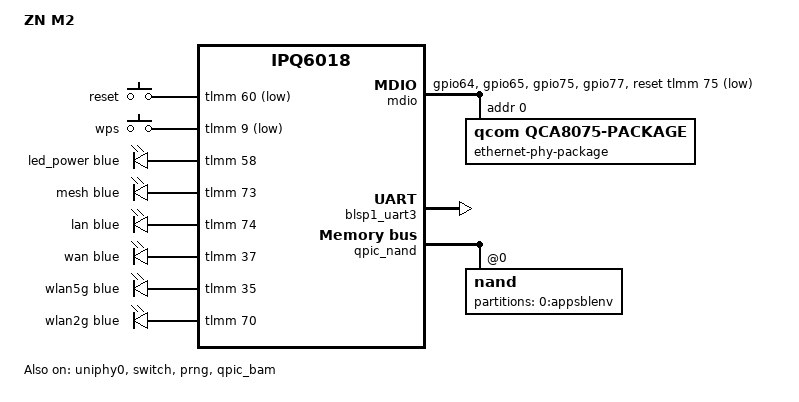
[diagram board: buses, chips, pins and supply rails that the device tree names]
// SPDX-License-Identifier: GPL-2.0-or-later OR MIT
/*
 * ZN M2 board support
 *
 * Based on vendor DTS from AmadeusGhost <amadeus@jmu.edu.cn>
 * Ported to mainline ipq6018 PPE/EDMA bindings.
 */

/dts-v1/;

#include "ipq6018.dtsi"
#include "ipq6018-cp-cpu.dtsi"
#include "ipq6018-ess.dtsi"
#include <dt-bindings/gpio/gpio.h>
#include <dt-bindings/input/input.h>
#include <dt-bindings/leds/common.h>

/ {
	model = "ZN M2";
	compatible = "zn,m2", "qcom,ipq6018";

	aliases {
		led-boot = &led_power;
		led-failsafe = &led_power;
		led-running = &led_power;
		led-upgrade = &led_power;
		serial0 = &blsp1_uart3;
	};

	chosen {
		stdout-path = "serial0:115200n8";
		bootargs-append = " ubi.mtd=rootfs root=/dev/ubiblock0_1";
	};

	keys {
		compatible = "gpio-keys";
		pinctrl-0 = <&button_pins>;
		pinctrl-names = "default";

		reset {
			label = "reset";
			gpios = <&tlmm 60 GPIO_ACTIVE_LOW>;
			linux,code = <KEY_RESTART>;
			debounce-interval = <60>;
		};

		wps {
			label = "wps";
			gpios = <&tlmm 9 GPIO_ACTIVE_LOW>;
			linux,code = <KEY_WPS_BUTTON>;
			debounce-interval = <60>;
		};
	};

	leds {
		compatible = "gpio-leds";
		pinctrl-0 = <&leds_pins>;
		pinctrl-names = "default";

		led_power: power {
			function = LED_FUNCTION_POWER;
			color = <LED_COLOR_ID_BLUE>;
			gpios = <&tlmm 58 GPIO_ACTIVE_HIGH>;
			default-state = "on";
		};

		mesh {
			function = LED_FUNCTION_WLAN;
			color = <LED_COLOR_ID_BLUE>;
			gpios = <&tlmm 73 GPIO_ACTIVE_HIGH>;
		};

		lan {
			function = LED_FUNCTION_LAN;
			color = <LED_COLOR_ID_BLUE>;
			gpios = <&tlmm 74 GPIO_ACTIVE_HIGH>;
		};

		wan {
			function = LED_FUNCTION_WAN;
			color = <LED_COLOR_ID_BLUE>;
			gpios = <&tlmm 37 GPIO_ACTIVE_HIGH>;
		};

		wlan5g {
			function = LED_FUNCTION_WLAN_5GHZ;
			color = <LED_COLOR_ID_BLUE>;
			gpios = <&tlmm 35 GPIO_ACTIVE_HIGH>;
		};

		wlan2g {
			function = LED_FUNCTION_WLAN_2GHZ;
			color = <LED_COLOR_ID_BLUE>;
			gpios = <&tlmm 70 GPIO_ACTIVE_HIGH>;
		};
	};
};

/*
 * NSS/Q6 reserved region: the upstream default is 0x5500000 (ends exactly
 * at 0x50000000), which eats most of the usable RAM on this 256 MiB board.
 * This image ships no Q6/NSS firmware, so shrink it like the cp01 reference.
 */
&q6_region {
	reg = <0x0 0x4ab00000 0x0 0x2000000>;
};

&tlmm {
	button_pins: button-pins {
		wps-button {
			pins = "gpio9";
			function = "gpio";
			drive-strength = <8>;
			bias-pull-up;
		};

		reset-button {
			pins = "gpio60";
			function = "gpio";
			drive-strength = <8>;
			bias-pull-up;
		};
	};

	leds_pins: leds-pins {
		mux {
			pins = "gpio35", "gpio37", "gpio58",
			       "gpio70", "gpio73", "gpio74";
			function = "gpio";
			drive-strength = <8>;
			bias-pull-down;
		};
	};

	mdio_pins: mdio-pins {
		mdc {
			pins = "gpio64";
			function = "mdc";
			drive-strength = <8>;
			bias-pull-up;
		};

		mdio {
			pins = "gpio65";
			function = "mdio";
			drive-strength = <8>;
			bias-pull-up;
		};

		phy-reset {
			pins = "gpio75", "gpio77";
			function = "gpio";
			bias-pull-up;
		};
	};
};

&edma {
	status = "okay";
};

&uniphy0 {
	status = "okay";
};

&switch {
	status = "okay";

	ports {
		#address-cells = <1>;
		#size-cells = <0>;

		port@0 {
			reg = <0>;
			ethernet = <&edma>;
			phy-mode = "internal";

			fixed-link {
				speed = <1000>;
				full-duplex;
			};
		};

		swport1: port@1 {
			reg = <1>;
			label = "lan1";
			phy-handle = <&phy0>;
			phy-mode = "psgmii";
			pcs-handle = <&uniphy0 0>;
		};

		swport2: port@2 {
			reg = <2>;
			label = "lan2";
			phy-handle = <&phy1>;
			phy-mode = "psgmii";
			pcs-handle = <&uniphy0 1>;
		};

		swport4: port@4 {
			reg = <4>;
			label = "lan3";
			phy-handle = <&phy3>;
			phy-mode = "psgmii";
			pcs-handle = <&uniphy0 3>;
		};

		swport5: port@5 {
			reg = <5>;
			label = "wan";
			phy-handle = <&phy4>;
			phy-mode = "psgmii";
			pcs-handle = <&uniphy0 4>;
		};
	};
};

&mdio {
	status = "okay";

	pinctrl-0 = <&mdio_pins>;
	pinctrl-names = "default";
	reset-gpios = <&tlmm 75 GPIO_ACTIVE_LOW>;
	reset-delay-us = <10000>;
	reset-post-delay-us = <50000>;

	ethernet-phy-package {
		#address-cells = <1>;
		#size-cells = <0>;
		compatible = "qcom,qca8075-package";
		reg = <0>;

		qcom,package-mode = "psgmii";

		phy0: ethernet-phy@0 {
			compatible = "ethernet-phy-ieee802.3-c22";
			reg = <0>;
		};

		phy1: ethernet-phy@1 {
			compatible = "ethernet-phy-ieee802.3-c22";
			reg = <1>;
		};

		phy2: ethernet-phy@2 {
			compatible = "ethernet-phy-ieee802.3-c22";
			reg = <2>;
		};

		phy3: ethernet-phy@3 {
			compatible = "ethernet-phy-ieee802.3-c22";
			reg = <3>;
		};

		phy4: ethernet-phy@4 {
			compatible = "ethernet-phy-ieee802.3-c22";
			reg = <4>;
		};
	};
};

&blsp1_uart3 {
	pinctrl-0 = <&serial_3_pins>;
	pinctrl-names = "default";
	status = "okay";
};

&prng {
	status = "okay";
};

&qpic_bam {
	status = "okay";
};

&qpic_nand {
	status = "okay";

	nand@0 {
		reg = <0>;
		nand-ecc-strength = <4>;
		nand-ecc-step-size = <512>;
		nand-bus-width = <8>;

		partitions {
			/*
			 * The APPSBL of this board exports the full 19 partition
			 * layout through SMEM, so do not hardcode it here.
			 */
			compatible = "qcom,smem-part";

			partition-0-appsblenv {
				label = "0:appsblenv";

				nvmem-layout {
					compatible = "u-boot,env";
					env-size = <0x40000>;
				};
			};
		};
	};
};
